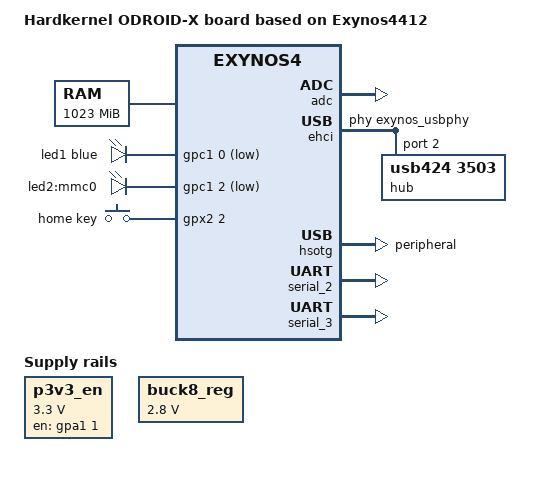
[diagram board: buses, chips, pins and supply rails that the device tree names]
// SPDX-License-Identifier: GPL-2.0
/*
 * Hardkernel's Exynos4412 based ODROID-X board device tree source
 *
 * Copyright (c) 2012 Dongjin Kim <tobetter@gmail.com>
 *
 * Device tree source file for Hardkernel's ODROID-X board which is based
 * on Samsung's Exynos4412 SoC.
 */

/dts-v1/;
#include <dt-bindings/leds/common.h>
#include "exynos4412-odroid-common.dtsi"

/ {
	model = "Hardkernel ODROID-X board based on Exynos4412";
	compatible = "hardkernel,odroid-x", "samsung,exynos4412", "samsung,exynos4";

	aliases {
		ethernet = &ethernet;
	};

	memory@40000000 {
		device_type = "memory";
		reg = <0x40000000 0x3FF00000>;
	};

	leds {
		compatible = "gpio-leds";
		led1 {
			function = LED_FUNCTION_HEARTBEAT;
			color = <LED_COLOR_ID_BLUE>;
			gpios = <&gpc1 0 GPIO_ACTIVE_LOW>;
			default-state = "on";
			linux,default-trigger = "heartbeat";
		};
		led2 {
			label = "led2:mmc0";
			function = LED_FUNCTION_DISK_ACTIVITY;
			gpios = <&gpc1 2 GPIO_ACTIVE_LOW>;
			default-state = "on";
			linux,default-trigger = "mmc0";
		};
	};

	regulator-1 {
		compatible = "regulator-fixed";
		regulator-name = "p3v3_en";
		regulator-min-microvolt = <3300000>;
		regulator-max-microvolt = <3300000>;
		gpio = <&gpa1 1 GPIO_ACTIVE_HIGH>;
		enable-active-high;
		regulator-always-on;
	};
};

&adc {
	vdd-supply = <&ldo10_reg>;
	status = "okay";
};

/* VDDQ for MSHC (eMMC card) */
&buck8_reg {
	regulator-name = "BUCK8_VDDQ_MMC4_2.8V";
	regulator-min-microvolt = <2800000>;
	regulator-max-microvolt = <2800000>;
};

&ehci {
	#address-cells = <1>;
	#size-cells = <0>;
	phys = <&exynos_usbphy 2>;
	phy-names = "hsic0";

	hub@2 {
		compatible = "usb424,3503";
		reg = <2>;
		#address-cells = <1>;
		#size-cells = <0>;

		hub@1 {
			compatible = "usb424,9514";
			reg = <1>;
			#address-cells = <1>;
			#size-cells = <0>;

			ethernet: ethernet@1 {
				compatible = "usb424,ec00";
				reg = <1>;
				/* Filled in by a bootloader */
				local-mac-address = [00 00 00 00 00 00];
			};
		};
	};
};

&gpio_keys {
	pinctrl-0 = <&gpio_power_key &gpio_home_key>;

	home-key {
		gpios = <&gpx2 2 GPIO_ACTIVE_HIGH>;
		linux,code = <KEY_HOME>;
		label = "home key";
		debounce-interval = <10>;
		wakeup-source;
	};
};

&hsotg {
	dr_mode = "peripheral";
};

&mshc_0 {
	vqmmc-supply = <&buck8_reg>;
};

&pinctrl_1 {
	gpio_home_key: home-key-pins {
		samsung,pins = "gpx2-2";
		samsung,pin-pud = <EXYNOS_PIN_PULL_NONE>;
	};
};

&serial_2 {
	status = "okay";
};

&serial_3 {
	status = "okay";
};

&sound {
	model = "Odroid-X";
	samsung,audio-widgets =
		"Headphone", "Headphone Jack",
		"Microphone", "Mic Jack",
		"Microphone", "DMIC";
	samsung,audio-routing =
		"Headphone Jack", "HPL",
		"Headphone Jack", "HPR",
		"IN1", "Mic Jack",
		"Mic Jack", "MICBIAS";
};
